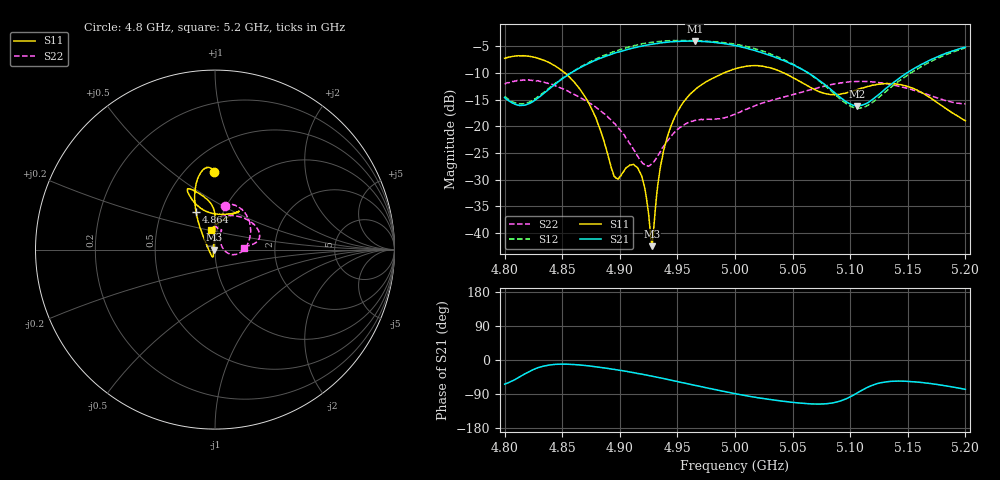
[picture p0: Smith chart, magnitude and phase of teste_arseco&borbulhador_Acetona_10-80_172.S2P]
! Network Analyzer HP8722D
! Hewlett-Packard
! Data name: Linha & Wilkinson
! Saver's name: Rodrigo Anjos
! Comments: Teste da utilização de aquisição
! continua pelo VNA HP8722D
! Time and date: 25/4/2025 16:42
!  Frequency  S11  S21  S12  S22
# HZ  S  MA R 50
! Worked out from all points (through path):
!   401 points, 4.8 GHz to 5.2 GHz, reference 50 ohm
!   highest |S21| = -3.97 dB at 4.965 GHz (marker M1); lowest = -16.2 dB at 5.106 GHz (marker M2)
!   lowest |S11| = -42.5 dB at 4.928 GHz (marker M3), VSWR 1.02, Z = 49.3 + j0.0526 ohm
!   |S11| at or under -10 dB: 4.852 GHz to 4.99 GHz (137.8 MHz wide, 2.8 % of centre); 5.042 GHz to end of sweep
!   |S22| runs from -27.5 to -11.3 dB; largest |S21 - S12| = 1.2
!   S11 on the Smith chart (normalised r, x): 4.8 GHz: 0.67, +0.72; 4.864 GHz: 0.75, +0.33; 5.2 GHz: 0.94, +0.21
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4.8e9  0.4351 90.9  0.1863 -63.7  0.1909 69.6  0.2497 77.5
4.82e9  0.4548 97.2  0.1609 -32.5  0.1669 98.3  0.2731 62.0
4.845e9  0.3622 107.5  0.2533 -11.3  0.2573 119.5  0.2382 34.2
4.864e9  0.2339 116.8  0.3482 -12.6  0.3519 121.1  0.1906 12.3
4.867e9  0.2106 118.6  0.3631 -13.7  0.3674 120.8  0.183 9.0
4.88e9  0.1138 128.7  0.4217 -18.3  0.4314 118.4  0.1486 -4.9
4.896e9  0.03327 -169.3  0.4868 -25.3  0.5063 113.3  0.1051 -15.5
4.91e9  0.04334 -107.8  0.5385 -32.4  0.5638 107.1  0.06535 -13.1
4.917e9  0.03774 -104.9  0.5619 -36.2  0.5873 103.7  0.04916 -1.3
4.921e9  0.02827 -108.5  0.5732 -38.5  0.5994 101.3  0.0442 12.5
4.928e9  0.007494 175.9  0.5893 -42.9  0.6153 97.2  0.0447 40.4
4.934e9  0.03387 99.3  0.6028 -46.6  0.6268 93.4  0.05505 57.2
4.939e9  0.06478 93.4  0.6125 -49.5  0.6332 90.1  0.06697 65.0
4.945e9  0.104 90.7  0.621 -53.5  0.6373 86.4  0.08195 69.2
4.965e9  0.2189 91.3  0.6329 -66.7  0.6352 73.5  0.1137 71.3
5e9  0.3467 109.2  0.5721 -89.0  0.5914 51.0  0.1301 88.3
5.03e9  0.3553 115.4  0.4645 -104.0  0.4814 33.8  0.1727 85.5
5.067e9  0.2272 105.6  0.3007 -115.9  0.298 23.6  0.2221 57.3
5.106e9  0.2208 65.0  0.1555 -87.1  0.1481 55.8  0.2634 24.9
5.134e9  0.2518 57.8  0.2405 -56.6  0.2254 88.8  0.2482 12.4
5.169e9  0.1869 70.4  0.4164 -61.9  0.4002 85.0  0.1952 6.9
5.2e9  0.1127 100.7  0.5534 -77.5  0.5434 70.3  0.1619 3.7
